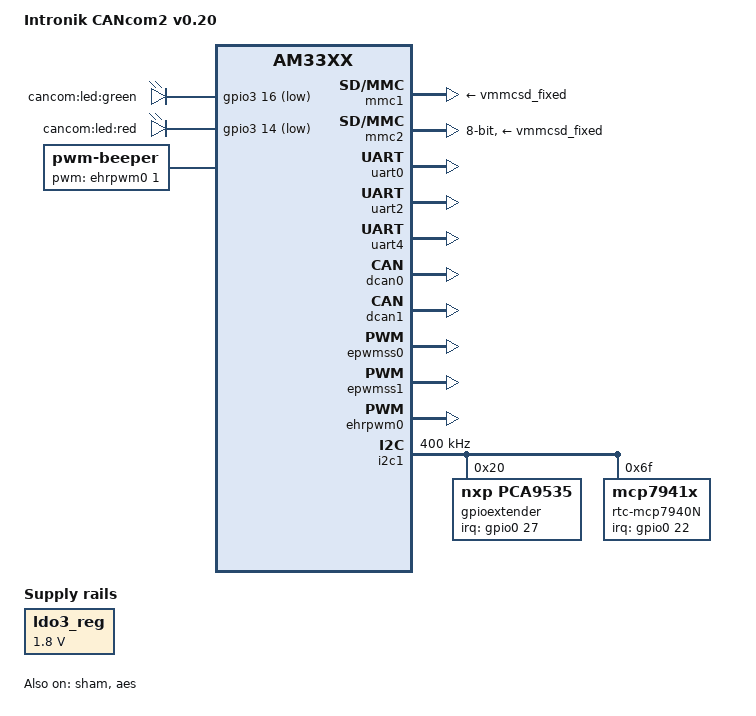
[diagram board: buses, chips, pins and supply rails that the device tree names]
/*
 * Copyright (C) 2016 Intronik GmbH
 *
 * Hardware specification for Intronik CANcom module.
 * V0.2 (11.03.2016) - 2016-05-18 Daniel Gross
 */
/dts-v1/;

#include "am33xx.dtsi"
#include "am335x-bone-common-no-capemgr.dtsi"
#include "am335x-intronik-pinmux.dtsi"
#include <dt-bindings/interrupt-controller/irq.h>
#include <dt-bindings/input/input.h>

/ {
	model = "Intronik CANcom2 v0.20";
	compatible = "ti,am335x-bone-black", "ti,am335x-bone", "ti,am33xx";
};

&ldo3_reg {
	regulator-min-microvolt = <1800000>;
	regulator-max-microvolt = <1800000>;
	regulator-always-on;
};

&sham {
	status = "okay";
};

&aes {
	status = "okay";
};

&mmc1 {	// sd-card
	vmmc-supply = <&vmmcsd_fixed>;
};

&mmc2 {	// emmc
	status = "okay";
	vmmc-supply = <&vmmcsd_fixed>;
	pinctrl-names = "default";
	pinctrl-0 = <&emmc_pins>;
	bus-width = <8>;
};

&uart0 { // X3.3 (J1.4), X3.1 (J1.5)
	pinctrl-names = "default";
	pinctrl-0 = <&uart0_pins>;
	status = "okay";
};

&uart2 { // X7.3 (P9.21), X7.1 (P9.22)
	status = "okay";
	pinctrl-names = "default", "sleep";
	pinctrl-0 = <&P9_22_uart_pin &P9_21_uart_pin>;
	pinctrl-1 = <&P9_22_default_pin &P9_21_default_pin>;
}; 

&uart4 { // X6.3 (P9.11), X6.1 (P9.13)
	status = "okay";
	pinctrl-names = "default", "sleep";
	pinctrl-0 = <&P9_11_uart_pin &P9_13_uart_pin>;
	pinctrl-1 = <&P9_11_default_pin &P9_13_default_pin>;
};

&dcan0 { // X2
	 status = "okay";
	 pinctrl-names = "default", "sleep";
	 pinctrl-0 = <&P9_19_can_pin &P9_20_can_pin>;
	 pinctrl-1 = <&P9_19_default_pin &P9_20_default_pin>;
};

&dcan1 { // X3
	 status = "okay";
	 pinctrl-names = "default", "sleep";
	 pinctrl-0 = <&P9_24_can_pin &P9_26_can_pin>;
	 pinctrl-1 = <&P9_24_default_pin &P9_26_default_pin>;
};

&epwmss0 {
	status = "okay";
};

&epwmss1 {
	status = "okay";
};

&ehrpwm0 { // pwm module used beeper (EHRPWM0B)
	status = "okay";
	pinctrl-names = "default", "sleep";
	pinctrl-0 = <&P9_29_pwm_pin>;
	pinctrl-1 = <&P9_29_gpio_pd_pin>;
};

&pruss {
	status = "disabled";
};

&lcdc {	// hdmi is not required
	status = "disabled";
};

&rtc {  // we use an external i2c rtc, so this should be disabled
	status = "disable";
};

&i2c1 {
	status = "okay";
	pinctrl-names = "default", "sleep";
	pinctrl-0 = <&P9_17_i2c_pin &P9_18_i2c_pin>;
	pinctrl-1 = <&P9_17_default_pin &P9_18_default_pin>;
	clock-frequency = <400000>;
		
	gpioextender: gpioextender@20 {
		reg = <0x20>;
		compatible = "nxp,pca9535";
		pinctrl-names = "default";
		pinctrl-0 = <&P8_17_gpio_pu_pin>;
		gpio-controller;
		#gpio-cells = <2>;
		interrupt-parent = <&gpio0>;
		interrupts = <27 IRQ_TYPE_EDGE_FALLING>;
		interrupt-controller;
		#interrupt-cells = <2>;
	};

	rtc-mcp7940N@6F {
		reg = <0x6f>;
		compatible = "mcp7941x";
		pinctrl-names = "default";
		pinctrl-0 = <&P8_19_gpio_pu_pin>;
		interrupt-parent = <&gpio0>;
		interrupts = <22 IRQ_TYPE_EDGE_FALLING>;
	};
};

&i2c2 { // required to enable CAN0
	status = "disable";
};


// we do not want the default leds (that way we save a lot of power, in sleep)
/delete-node/ &leds;

/ {
	cpus {
		cpu@0 {
			cpu0-supply = <&dcdc2_reg>;
			/*
			 * To consider voltage drop between PMIC and SoC,
			 * tolerance value is reduced to 2% from 4% and
			 * voltage value is increased as a precaution.
			 */
			operating-points = <
				/* kHz    uV */
				1000000	1325000
				800000	1300000
				600000	1112000
				300000	969000
			>;
		};
	};

	intronik_leds: intronik_leds {
		pinctrl-names = "default", "sleep";
		pinctrl-0 = <&P9_30_gpio_pu_pin &P9_31_gpio_pu_pin>;
		pinctrl-1 = <&P9_30_gpio_pu_pin &P9_31_gpio_pu_pin>;
		compatible = "gpio-leds";
		
		led@green {		// P9_30
			label = "cancom:led:green";
			gpios = <&gpio3 16 GPIO_ACTIVE_LOW>;
			linux,default-trigger = "heartbeat";
			default-state = "off";
		};
		
		led@red {		// P9_31
			label = "cancom:led:red";
			gpios = <&gpio3 14 GPIO_ACTIVE_LOW>;
			linux,default-trigger = "timer";
			default-state = "off";
		};
	};

	beeper: beeper {
		status = "okay";
		compatible = "pwm-beeper";
		pwms = <&ehrpwm0 1 250000 0>; // EHRPWM0B 4kHz
	};
	
	CanComIo {
		pinctrl-names = "default", "sleep";
		pinctrl-0 = <
			&P8_07_gpio_pin		// OUT_0
			&P8_08_gpio_pin		// OUT_1
			&P8_09_gpio_pin		// OUT_2
			&P8_10_gpio_pin		// OUT_3
			&P8_11_gpio_pin		// OUT_4
			&P8_12_gpio_pin		// OUT_5
			&P8_13_gpio_pin		// OUT_6
			&P8_14_gpio_pin		// OUT_7
			&P8_15_gpio_pin		// OUT_8
			&P8_26_gpio_pin		// OUT_9
			&P9_12_gpio_pin		// OUT_10
			&P9_15_gpio_pin		// OUT_11
			&P9_16_gpio_pu_pin	// OUT_12 (CAN BUS POWER)
			&P9_41_gpio_pin		// CAN0 RX Wakeup Event
			&P9_42_gpio_pin		// CAN1 RX Wakeup Event
		>;
		pinctrl-1 = <
			&P8_07_gpio_pd_pin	// OUT_0
			&P8_08_gpio_pd_pin	// OUT_1
			&P8_09_gpio_pd_pin	// OUT_2
			&P8_10_gpio_pd_pin	// OUT_3
			&P8_11_gpio_pd_pin	// OUT_4
			&P8_12_gpio_pd_pin	// OUT_5
			&P8_13_gpio_pd_pin	// OUT_6
			&P8_14_gpio_pd_pin	// OUT_7
			&P8_15_gpio_pd_pin	// OUT_8
			&P8_26_gpio_pd_pin	// OUT_9
			&P9_12_gpio_pd_pin	// OUT_10
			&P9_15_gpio_pd_pin	// OUT_11
			&P9_16_gpio_pu_pin	// OUT_12 (CAN BUS POWER STAY ON)
			&P9_41_gpio_pin		// CAN0 RX Wakeup Event
			&P9_42_gpio_pin		// CAN1 RX Wakeup Event
		>;

		compatible = "gpio-of-helper";
		status = "okay";
		
		// !!!BITTE BEACHTEN!!!
		// Es müssen hier zuerst die IOs vom i2c-gpioextender verwendet werden.
		// Der gpioextender gibt beim ersten Aufruf meist ERR_DEFERR zurück, wenn
		// dann aber schon ein Teil der IOs angelegt ist, kommt der gpio-of-helper
		// nicht damit klar und bricht alles ab.
		
		CanComInp00 {
			gpio-name = "Inp00";
			gpio = <&gpioextender 0 0>;
			input;
		};		
		CanComInp01 {
			gpio-name = "Inp01";
			gpio = <&gpioextender 1 0>;
			input;
		};
		CanComInp02 {
			gpio-name = "Inp02";
			gpio = <&gpioextender 2 0>;
			input;
		};
		CanComInp03 {
			gpio-name = "Inp03";
			gpio = <&gpioextender 3 0>;
			input;
		};
		CanComInp04 {
			gpio-name = "Inp04";
			gpio = <&gpioextender 4 0>;
			input;
		};
		CanComInp05 {
			gpio-name = "Inp05";
			gpio = <&gpioextender 5 0>;
			input;
		};
		CanComInp06 {
			gpio-name = "Inp06";
			gpio = <&gpioextender 6 0>;
			input;
		};
		CanComInp07 {
			gpio-name = "Inp07";
			gpio = <&gpioextender 7 0>;
			input;
		};		
		CanComInp08 {
			gpio-name = "Inp08";
			gpio = <&gpioextender 8 0>;
			input;
		};		
		CanComInp09 {
			gpio-name = "Inp09";
			gpio = <&gpioextender 9 0>;
			input;
		};
		CanComInp10 {
			gpio-name = "Inp10";
			gpio = <&gpioextender 10 0>;
			input;
		};
		CanComInp11 {
			gpio-name = "Inp11";
			gpio = <&gpioextender 11 0>;
			input;
		};
		CanComInp12 {
			gpio-name = "Inp12";
			gpio = <&gpioextender 12 0>;
			input;
		};
		CanComInp13 {
			gpio-name = "Inp13";
			gpio = <&gpioextender 13 0>;
			input;
		};
		CanComInp14 {
			gpio-name = "Inp14";
			gpio = <&gpioextender 14 0>;
			input;
		};
		CanComInp15 {
			gpio-name = "Inp15";
			gpio = <&gpioextender 15 0>;
			input;
		};
		
		//		
		// OUTPUTS
		//
		CanComOut00 {
			gpio-name = "Out00";
			gpio = <&gpio2 2 0>;
			output;
			init-low;
		};	
		CanComOut01 {
			gpio-name = "Out01";
			gpio = <&gpio2 3 0>;
			output;
			init-low;
		};	
		CanComOut02 {
			gpio-name = "Out02";
			gpio = <&gpio2 5 0>;
			output;
			init-low;
		};
		CanComOut03 {
			gpio-name = "Out03";
			gpio = <&gpio2 4 0>;
			output;
			init-low;
		};
		CanComOut04 {
			gpio-name = "Out04";
			gpio = <&gpio1 13 0>;
			output;
			init-low;
		};
		CanComOut05 {
			gpio-name = "Out05";
			gpio = <&gpio1 12 0>;
			output;
			init-low;
		};
		CanComOut06 {
			gpio-name = "Out06";
			gpio = <&gpio0 23 0>;
			output;
			init-low;
		};	
		CanComOut07 {
			gpio-name = "Out07";
			gpio = <&gpio0 26 0>;
			output;
			init-low;
		};	
		CanComOut08 {
			gpio-name = "Out08";
			gpio = <&gpio1 15 0>;
			output;
			init-low;
		};	
		CanComOut09 {
			gpio-name = "Out09";
			gpio = <&gpio1 29 0>;
			output;
			init-low;
		};
		CanComOut10 {
			gpio-name = "Out10";
			gpio = <&gpio1 28 0>;
			output;
			init-low;
		};	
		CanComOut11 {
			gpio-name = "Out11";
			gpio = <&gpio1 16 0>;
			output;
			init-low;
		};	
		CanComOutCanPwrEnable {	// P9_16: OUT_12
			gpio-name = "OutCanPwrEnable";
			gpio = <&gpio1 19 0>;
			output;
			init-high;
		};	
		
		// just for can wakup reasons
		Can0Wakup { // P9_41 CAN0 RX
			gpio-name = "InpCan0rx";
			gpio = <&gpio0 20 0>;
			input;
		};
		Can1Wakup { // P9_42 CAN1 RX
			gpio-name = "InpCan1rx";
			gpio = <&gpio0 7 0>;
			input;
		};
	};
};
